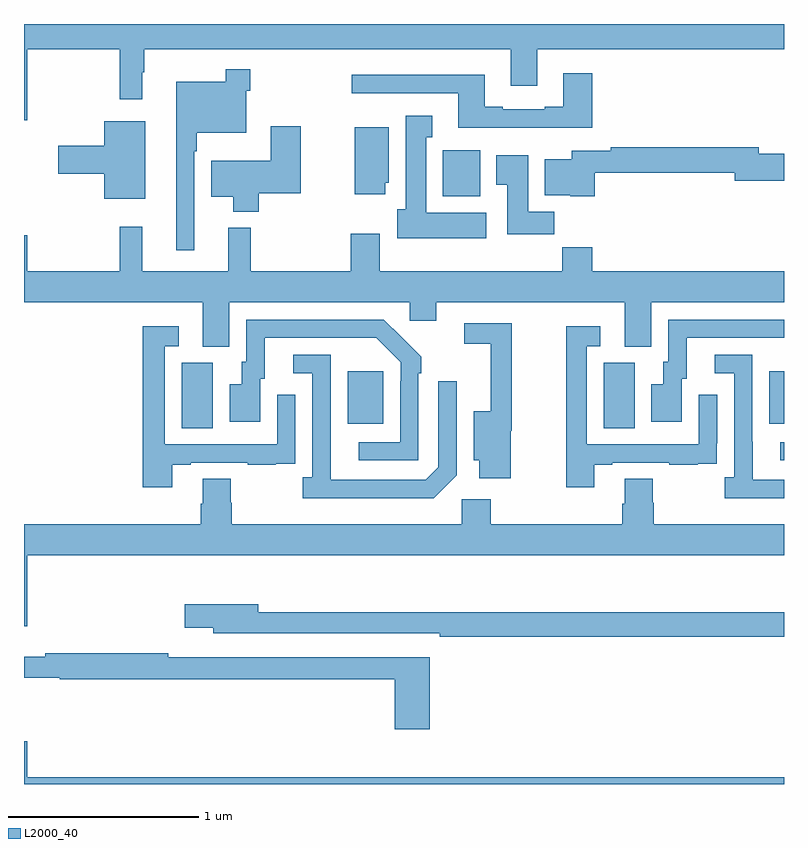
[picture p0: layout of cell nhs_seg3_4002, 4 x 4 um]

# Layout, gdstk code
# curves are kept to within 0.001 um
import gdstk
lib = gdstk.Library(unit=1e-6, precision=1e-09)
def R(c, l, rs):  # rectangles x0, y0, x1, y1
    for r in rs: c.add(gdstk.rectangle(r[:2], r[2:], *l))
def P(c, l, *ps):  # polygons
    for p in ps: c.add(gdstk.Polygon(p, *l))
L2000_40 = (2000, 40)

nhs_seg3_4002 = lib.new_cell('nhs_seg3_4002')
R(nhs_seg3_4002, L2000_40, [(324.981,680.103,325,680.199), (321.83,680.272,321.994,680.616), (324.05,680.272,324.214,680.616), (322.703,680.297,322.891,680.572), (324.923,680.297,325,680.572), (323.204,681.494,323.401,681.736)])
P(nhs_seg3_4002, L2000_40, [(321.016,682.268),(321.505,682.268),(321.505,682.005),(321.622,682.005),(321.622,682.145),(321.634,682.145),(321.634,682.268),(323.561,682.268),(323.561,682.074),(323.701,682.074),(323.701,682.268),(325,682.268),(325,682.4),(321,682.4),(321,681.894),(321.016,681.894)],
  [(321.897,681.731),(321.91,681.731),(321.91,681.827),(322.17,681.827),(322.17,682.049),(322.19,682.049),(322.19,682.162),(322.062,682.162),(322.062,682.096),(321.8,682.096),(321.8,681.21),(321.897,681.21)],
  [(323.99,682.141),(323.837,682.141),(323.837,681.964),(323.741,681.964),(323.741,681.951),(323.521,681.951),(323.521,681.964),(323.425,681.964),(323.425,682.132),(322.725,682.132),(322.725,682.035),(323.285,682.035),(323.285,681.854),(323.99,681.854)],
  [(323.434,681.406),(323.116,681.406),(323.116,681.803),(323.149,681.803),(323.149,681.916),(323.009,681.916),(323.009,681.426),(322.964,681.426),(322.964,681.272),(323.434,681.272)],
  [(321.637,681.889),(321.422,681.889),(321.422,681.758),(321.18,681.758),(321.18,681.611),(321.422,681.611),(321.422,681.479),(321.637,681.479)],
  [(322.235,681.509),(322.456,681.509),(322.456,681.862),(322.298,681.862),(322.298,681.679),(321.986,681.679),(321.986,681.491),(322.1,681.491),(322.1,681.413),(322.235,681.413)],
  [(322.9,681.564),(322.921,681.564),(322.921,681.856),(322.742,681.856),(322.742,681.504),(322.9,681.504)],
  [(324.005,681.616),(324.74,681.616),(324.74,681.574),(325,681.574),(325,681.716),(324.868,681.716),(324.868,681.752),(324.088,681.752),(324.088,681.732),(323.882,681.732),(323.882,681.688),(323.741,681.688),(323.741,681.5),(323.874,681.5),(323.874,681.494),(324.005,681.494)],
  [(323.792,681.412),(323.653,681.412),(323.653,681.709),(323.486,681.709),(323.486,681.553),(323.543,681.553),(323.543,681.294),(323.792,681.294)],
  [(322.081,680.936),(323.031,680.936),(323.031,680.838),(323.17,680.838),(323.17,680.936),(324.161,680.936),(324.161,680.701),(324.301,680.701),(324.301,680.936),(325,680.936),(325,681.1),(323.99,681.1),(323.99,681.224),(323.833,681.224),(323.833,681.1),(322.873,681.1),(322.873,681.295),(322.721,681.295),(322.721,681.1),(322.193,681.1),(322.193,681.328),(322.076,681.328),(322.076,681.1),(321.623,681.1),(321.623,681.334),(321.505,681.334),(321.505,681.1),(321.016,681.1),(321.016,681.289),(321,681.289),(321,680.936),(321.941,680.936),(321.941,680.701),(322.081,680.701)],
  [(323.076,680.561),(323.091,680.561),(323.091,680.649),(322.894,680.844),(322.17,680.844),(322.17,680.622),(322.145,680.622),(322.145,680.503),(322.082,680.503),(322.082,680.307),(322.243,680.307),(322.243,680.532),(322.267,680.532),(322.267,680.748),(322.855,680.748),(322.983,680.619),(322.983,680.519),(322.98,680.519),(322.98,680.199),(322.761,680.199),(322.761,680.103),(323.076,680.103)],
  [(324.463,680.532),(324.487,680.532),(324.487,680.748),(325,680.748),(325,680.844),(324.39,680.844),(324.39,680.622),(324.365,680.622),(324.365,680.503),(324.302,680.503),(324.302,680.307),(324.463,680.307)],
  [(323.562,680.258),(323.566,680.258),(323.566,680.826),(323.316,680.826),(323.316,680.718),(323.456,680.718),(323.456,680.362),(323.366,680.362),(323.366,680.105),(323.396,680.105),(323.396,680.01),(323.562,680.01)],
  [(324.001,680.079),(324.097,680.079),(324.097,680.091),(324.397,680.091),(324.397,680.079),(324.545,680.079),(324.545,680.085),(324.647,680.085),(324.647,680.194),(324.648,680.194),(324.648,680.449),(324.552,680.449),(324.552,680.187),(323.961,680.187),(323.961,680.703),(324.034,680.703),(324.034,680.809),(323.853,680.809),(323.853,679.962),(324.001,679.962)],
  [(321.781,680.079),(321.877,680.079),(321.877,680.091),(322.177,680.091),(322.177,680.079),(322.325,680.079),(322.325,680.085),(322.427,680.085),(322.427,680.194),(322.428,680.194),(322.428,680.449),(322.332,680.449),(322.332,680.187),(321.741,680.187),(321.741,680.703),(321.814,680.703),(321.814,680.809),(321.625,680.809),(321.625,679.962),(321.781,679.962)],
  [(325,680.001),(324.835,680.001),(324.835,680.201),(324.834,680.201),(324.834,680.658),(324.636,680.658),(324.636,680.562),(324.738,680.562),(324.738,680.014),(324.687,680.014),(324.687,679.904),(325,679.904)],
  [(323.277,680.025),(323.277,680.521),(323.181,680.521),(323.181,680.067),(323.115,680.001),(322.615,680.001),(322.614,680.658),(322.416,680.658),(322.416,680.562),(322.518,680.562),(322.518,680.014),(322.467,680.014),(322.467,679.904),(323.156,679.904)],
  [(321.016,679.604),(325,679.604),(325,679.768),(324.314,679.768),(324.314,679.881),(324.309,679.881),(324.309,680.006),(324.161,680.006),(324.161,679.874),(324.149,679.874),(324.149,679.768),(323.456,679.768),(323.456,679.9),(323.304,679.9),(323.304,679.768),(322.094,679.768),(322.094,679.881),(322.089,679.881),(322.089,680.006),(321.941,680.006),(321.941,679.874),(321.929,679.874),(321.929,679.768),(321,679.768),(321,679.23),(321.016,679.23)],
  [(325,679.303),(322.234,679.303),(322.234,679.345),(321.846,679.345),(321.846,679.223),(321.995,679.223),(321.995,679.194),(323.188,679.194),(323.188,679.174),(325,679.174)],
  [(323.135,679.068),(321.758,679.068),(321.758,679.088),(321.112,679.088),(321.112,679.069),(321,679.069),(321,678.96),(321.188,678.96),(321.188,678.952),(322.952,678.952),(322.952,678.687),(323.135,678.687)],
  [(325,678.436),(321.016,678.436),(321.016,678.625),(321,678.625),(321,678.4),(325,678.4)])

lib.write_gds('nhs_seg3_4002.gds')
